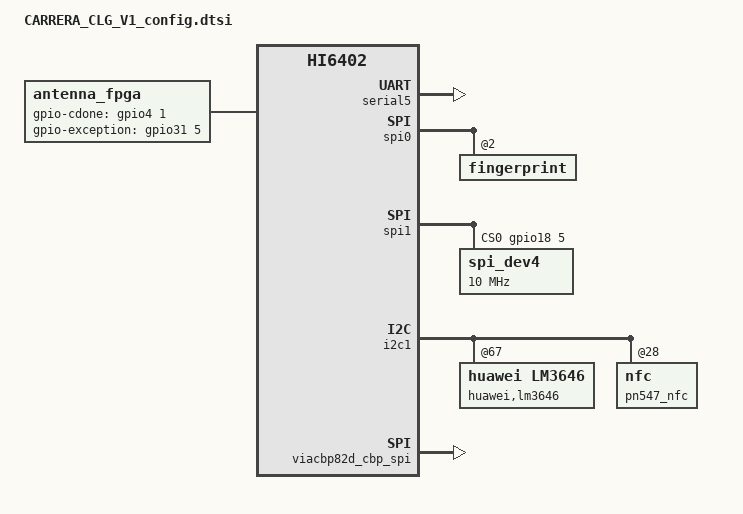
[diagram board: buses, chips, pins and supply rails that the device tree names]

/**
 * Huawei Ltd.
 * PhosphorV660
 */


/include/ "fastboot.dtsi"
/include/ "CARRERA_TUGL_V1_config.dtsi"
/include/ "CARRERA_CLG_V1_pin.dtsi"
/include/ "CARRERA_CLG_V1_hi6402_pin.dtsi"
/include/ "CARRERA_CLG_V1_modem_pin.dtsi"
///include/ "CARRERA_CLG_V1_charger.dtsi"
///include/ "CARRERA_CLG_V1_pmic.dtsi"
///include/ "CARRERA_CLG_V1_gpio_logic.dtsi"
/include/ "huawei_ext_modem.dtsi"

/ {
	hisi,boardid = <1 4 9 0 >;
	hisi,boardname = "CARRERA_CLG_V1";
	hisi,modem_id = <0x3EBE8000>;

	bcm_wifi {
		wifi_nvram_name = "/vendor/firmware/nvram4334_hw_carrera_clg.txt";
	};

	amba {
		serial5: uart@fdf05000 {
			pinctrl-names = "default", "idle";
			pinctrl-0 = <>;
			pinctrl-1 = <>;
			dmas;
			dma-names;
			//pinctrl-0 = <&gpio068_pmx_func &gpio069_pmx_func &gpio070_pmx_func &gpio068_cfg_func
			//	     &gpio069_cfg_func &gpio070_cfg_func &gpio071_cfg_func>;
			//pinctrl-1 = <&gpio068_pmx_idle &gpio069_pmx_idle &gpio070_pmx_idle &gpio068_cfg_idle
			//	     &gpio069_cfg_idle &gpio070_cfg_idle &gpio071_cfg_idle>;
			reset-controller-reg = <0x078 0x07c 0x080 15>;
			status = "ok";
		};

		spi0:spi@fdf07000 {
                        fingerprint: fingerprint@2 {
                               fpc1020,moduleid_gpio = <226>;
                        };
                };

		spi1: spi@fdf08000 {
				status = "ok";
				pinctrl-names = "default", "idle";
				pinctrl-0 = <&gpio146_pmx_func &gpio147_pmx_func &gpio148_pmx_func &gpio149_pmx_func
					     &gpio146_cfg_func &gpio147_cfg_func &gpio148_cfg_func &gpio149_cfg_func>;
				pinctrl-1 = <&gpio146_pmx_idle &gpio147_pmx_idle &gpio148_pmx_idle &gpio149_pmx_idle
					     &gpio146_cfg_idle &gpio147_cfg_idle &gpio148_cfg_idle &gpio149_cfg_idle>;

				num-cs = <1>;
				#address-cells = <1>;
				#size-cells = <0>;
				cs-gpios = <&gpio18 5 0>;
				spi_dev4: spi_dev4@4 {
						compatible = "spi_dev4";
						spi-max-frequency = <10000000>;
						reg = <0>;
						pl022,com-mode = <2>;
						pl022,interface = <0>;
						pl022,rx-level-trig = <3>;
						pl022,tx-level-trig = <3>;
						pl022,ctrl-len = <7>;
						pl022,wait-state = <0>;
						pl022,duplex = <0>;
						pl022,slave-tx-disable = <0>;
				};
		};

		i2c1: i2c@FDF0A000 {
			huawei,lm3646@67{
				compatible = "huawei,lm3646";
				huawei,flash-name = "lm3646";
				huawei,flash-pin = <72 156 155>;
				/* 0 means gpio control, 1 means i2c control */
				huawei,flash-ctrltype = <0>; /* gpio control */
				pinctrl-0 = <
					&gpio072_pmx_func
					&gpio156_pmx_func
					&gpio155_pmx_func
					&gpio072_cfg_func
					&gpio156_cfg_func
					&gpio155_cfg_func
				>;
				pinctrl-1 = <
					&gpio072_pmx_idle
					&gpio156_pmx_idle
					&gpio155_pmx_idle
					&gpio072_cfg_idle
					&gpio156_cfg_idle
					&gpio155_cfg_idle
				>;
				status = "ok";
			};

			huawei,lm3646_front@68{
				status = "disabled";
			};
		};
	};

	viacbp82d_power:viacbp82d_power {
		via_reset_ind = <&gpio23 4 0>;
		via_reset_ind_connect_to_codec = <0x0>;	        //reset_indication is connected to hi6402 codec?
		status = "ok";
	};
	viacbp82d_cbp_spi:viacbp82d_cbp_spi {
		status = "ok";
	};
	rnic_adapter:rnic_adapter {
		status = "ok";
	};
	antenna_fpga{
		compatible = "antenna_fpga";
		antenna_fpga,gpio-cdone = <&gpio4 1 0>;
		antenna_fpga,gpio-exception = <&gpio31 5 0>;
		antenna_fpga,pre-image-filename = "CARRERA_CLG_V1.bin";
		status = "ok";
	};
	sensorhub{
		mag_sensor:compass{
			mag1{
				file_id=<4>;
				softiron_parameter = <0 0 0 0 0 0 0 0 0 0 0 0 0 0 0 0 0 0 0 0 0 0 0 0 0 0 0>;
				status = "ok";
			};
		};
	};
	audio_hw_config {
		product_name = "CARRERA_CLG";
		modem_sio_master = "false";
		status = "ok";
	};

	panel_lcd_samsung_S6E3FA3X01 {
		#address-cells = <2>;
		#size-cells = <2>;
		compatible = "hisilicon,mipi_samsung_S6E3FA3X01";
		gpios = <&gpio4 5 0>, <&gpio3 3 0>, <&gpio15 4 0>, <&gpio31 0 0>, <&gpio5 1 0>;
		lcdio-vcc-supply = <&lsw50>;
		lcdanalog-vcc-supply = <&ldo17>;
		pinctrl-names = "default", "idle";
		pinctrl-0 = <&gpio036_pmx_func &gpio036_cfg_func &gpio037_cfg_func &gpio027_cfg_func &gpio124_cfg_func &gpio248_pinctrl_func &gpio041_cfg_func>;
		pinctrl-1 = <&gpio036_pmx_idle &gpio036_cfg_idle &gpio037_cfg_idle &gpio027_cfg_idle &gpio124_cfg_idle &gpio248_pinctrl_idle &gpio041_cfg_idle>;
		status = "disabled";
	};

	/* pmu led flash */
	huawei,pmu_led {
		compatible = "huawei,pmu_led";
		huawei,flash-name = "pmu_led";
		huawei,flash-index = <1>;
		huawei,flash-type = <0>;
		huawei,slave-address = <0x0>;
		huawei,flash_led_num = <9>;
		huawei,torch_led_num = <2>;
		huawei,flash_led = <0x1 0x2 0x3 0x4 0x5 0x6 0x7 0x8 0x9>;
		huawei,torch_led = <0x0 0x3>;
		huawei,led_ctrl_flash = <0x13 0x00 0x75 0x0a 0xd0 0xc8 0x1b>;
		huawei,led_ctrl_torch = <0x13 0x00 0x75 0x0a 0xd0 0x48 0x1b>;
		huawei,flash-position = "front";
		status = "ok";
	};

	/*
		device check : the 0 means that it don't need to check;
			the 1 means that it check at board check and running test;
			the 2 means that it check at running test
	*/
	devcheck: devcheck {
		fflash = <0>;
		status = "ok";
	};
	amba {
		i2c1: i2c@FDF0A000 {
			pn547_nfc:nfc@28 {
				nfc_card_num = <0x1>;
				nfc_nxp_name = "libnfc_nxp_carrera_CLG_V3.conf";
				nfc_brcm_conf_name = "libnfc_brcm_carrera.conf";
				nfc_chip_type = "pn548";
				detect_se = "true";
				status = "ok";
			};
		};
	};
};

